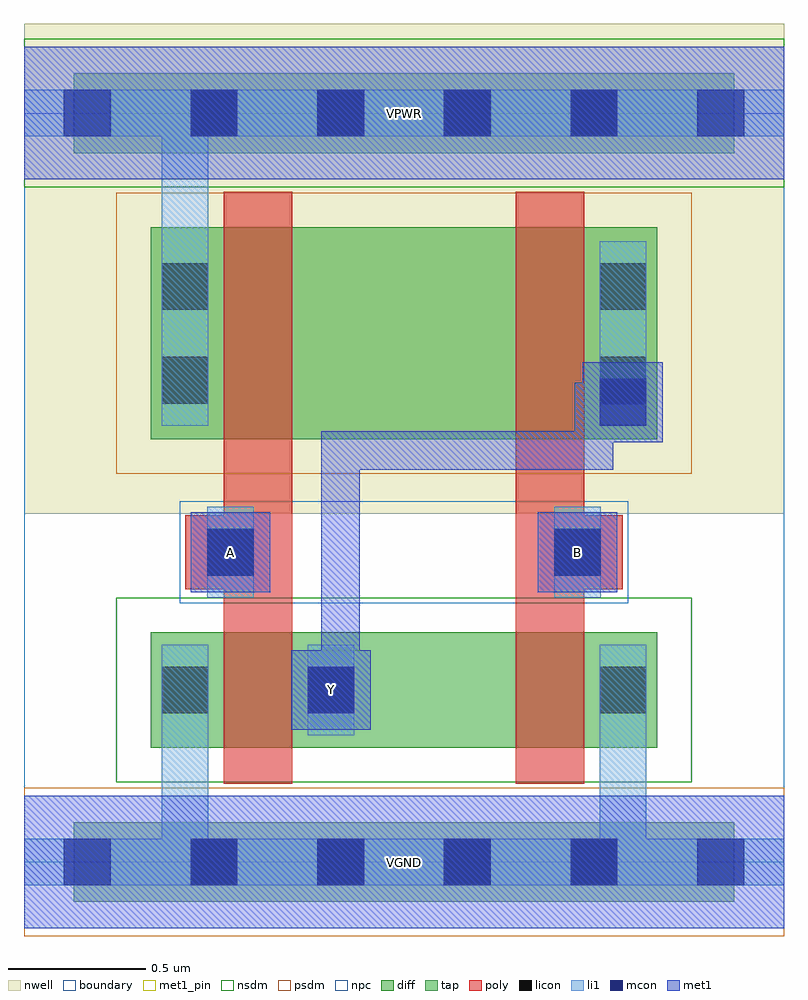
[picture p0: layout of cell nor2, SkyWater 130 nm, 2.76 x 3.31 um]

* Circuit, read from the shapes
.subckt nor2 A B VGND VPWR Y
XM1 Y A VGND VGND sky130_fd_pr__nfet_01v8 w=0.42 l=0.25
XM2 VGND B Y VGND sky130_fd_pr__nfet_01v8 w=0.42 l=0.25
XM3 n1 A VPWR VPWR sky130_fd_pr__pfet_01v8 w=0.77 l=0.25
XM4 Y B n1 VPWR sky130_fd_pr__pfet_01v8 w=0.77 l=0.25
.ends

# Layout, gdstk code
import gdstk
lib = gdstk.Library(unit=1e-6, precision=1e-09)
def R(c, l, rs):  # rectangles x0, y0, x1, y1
    for r in rs: c.add(gdstk.rectangle(r[:2], r[2:], *l))
def A(c, l, x, y, w, h, nx, ny, dx, dy):  # array of equal rectangles
    R(c, l, [(x+i*dx, y+j*dy, x+i*dx+w, y+j*dy+h) for i in range(nx) for j in range(ny)])
nwell = (64, 20)
diff = (65, 20)
tap = (65, 44)
poly = (66, 20)
licon = (66, 44)
li1 = (67, 20)
mcon = (67, 44)
met1_pin = (68, 16)
met1 = (68, 20)
nsdm = (93, 44)
psdm = (94, 20)
npc = (95, 20)
boundary = (235, 4)

nor2 = lib.new_cell('nor2')
R(nor2, nwell, [(0,1.265,2.76,3.045)])
R(nor2, diff, [(0.46,0.415,2.3,0.835), (0.46,1.535,2.3,2.305)])
R(nor2, tap, [(0.18,-0.145,2.58,0.145), (0.18,2.575,2.58,2.865)])
R(nor2, poly, [(0.725,0.285,0.975,2.435), (1.785,0.285,2.035,2.435), (0.585,0.99,0.915,1.26), (1.845,0.99,2.175,1.26)])
A(nor2, licon, 0.605, -0.085, 0.17, 0.17, 4, 2, 0.46, 2.72)
R(nor2, licon, [(0.5,0.54,0.67,0.71), (1.03,0.54,1.2,0.71), (2.09,0.54,2.26,0.71), (0.665,1.04,0.835,1.21), (1.925,1.04,2.095,1.21), (0.5,1.665,0.67,1.835), (2.09,1.665,2.26,1.835), (0.5,2.005,0.67,2.175), (2.09,2.005,2.26,2.175)])
R(nor2, li1, [(0,-0.085,2.76,0.085), (0.5,-0.085,0.67,0.79), (2.09,-0.085,2.26,0.79), (0.5,0.46,0.67,0.79), (1.03,0.46,1.2,0.79), (2.09,0.46,2.26,0.79), (0.665,0.96,0.835,1.29), (1.925,0.96,2.095,1.29), (0.5,1.585,0.67,2.255), (0.5,1.585,0.67,2.805), (2.09,1.585,2.26,2.255), (0,2.635,2.76,2.805)])
A(nor2, mcon, 0.145, -0.085, 0.17, 0.17, 6, 2, 0.46, 2.72)
R(nor2, mcon, [(1.03,0.54,1.2,0.71), (0.665,1.04,0.835,1.21), (1.925,1.04,2.095,1.21), (2.09,1.585,2.26,1.755)])
R(nor2, met1_pin, [(0,-0.24,2.76,0.24), (0.97,0.48,1.26,0.77), (0.605,0.98,0.895,1.27), (1.865,0.98,2.155,1.27), (0,2.48,2.76,2.96)])
R(nor2, met1, [(0,-0.24,2.76,0.24), (0.97,0.48,1.26,0.77), (1.08,0.62,1.22,0.76), (1.08,0.62,1.22,1.565), (0.605,0.98,0.895,1.27), (1.865,0.98,2.155,1.27), (1.08,1.425,2.14,1.565), (2,1.425,2.14,1.74), (2.03,1.525,2.32,1.815), (2,1.565,2.14,1.6), (2,1.565,2.14,1.6), (2,1.565,2.14,1.6), (2,1.565,2.14,1.6), (2,1.565,2.14,1.6), (2,1.565,2.14,1.6), (2,1.6,2.245,1.74), (0,2.48,2.76,2.96)])
R(nor2, nsdm, [(0.335,0.29,2.425,0.96), (0,2.45,2.76,2.99)])
R(nor2, psdm, [(0,-0.27,2.76,0.27), (0.335,1.41,2.425,2.43)])
R(nor2, npc, [(0.565,0.94,2.195,1.31)])
R(nor2, boundary, [(0,0,2.76,2.72)])
nor2.add(gdstk.Label('A', (0.75,1.125), layer=68, texttype=5))
nor2.add(gdstk.Label('B', (2.01,1.125), layer=68, texttype=5))
nor2.add(gdstk.Label('Y', (1.115,0.625), layer=68, texttype=5))
nor2.add(gdstk.Label('VPWR', (1.38,2.72), layer=68, texttype=5))
nor2.add(gdstk.Label('VGND', (1.38,0), layer=68, texttype=5))
nor2.add(gdstk.Label('A', (0.75,1.125), layer=68, texttype=16))
nor2.add(gdstk.Label('B', (2.01,1.125), layer=68, texttype=16))
nor2.add(gdstk.Label('Y', (1.115,0.625), layer=68, texttype=16))
nor2.add(gdstk.Label('VPWR', (1.38,2.72), layer=68, texttype=16))
nor2.add(gdstk.Label('VGND', (1.38,0), layer=68, texttype=16))

lib.write_gds('nor2.gds')
